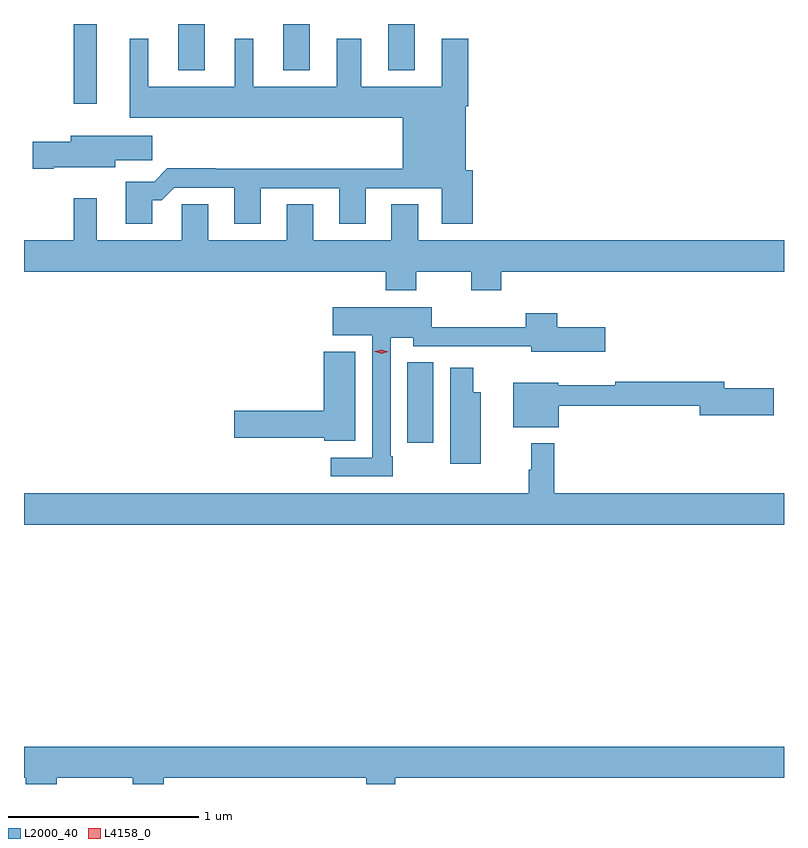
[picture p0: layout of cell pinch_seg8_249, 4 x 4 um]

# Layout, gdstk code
import gdstk
lib = gdstk.Library(unit=1e-6, precision=1e-09)
def R(c, l, rs):  # rectangles x0, y0, x1, y1
    for r in rs: c.add(gdstk.rectangle(r[:2], r[2:], *l))
def A(c, l, x, y, w, h, nx, ny, dx, dy):  # array of equal rectangles
    R(c, l, [(x+i*dx, y+j*dy, x+i*dx+w, y+j*dy+h) for i in range(nx) for j in range(ny)])
def P(c, l, *ps):  # polygons
    for p in ps: c.add(gdstk.Polygon(p, *l))
L2000_40 = (2000, 40)
L4158_0 = (4158, 0)

pinch_seg8_249 = lib.new_cell('pinch_seg8_249')
A(pinch_seg8_249, L2000_40, 827.045, 1089.587, 0.14, 0.244, 3, 1, 0.552, 0)
R(pinch_seg8_249, L2000_40, [(828.251,1087.626,828.388,1088.051), (826.494,1089.411,826.615,1089.831)])
P(pinch_seg8_249, L2000_40, [(826.909,1088.903),(826.958,1088.903),(827.025,1088.97),(827.339,1088.97),(827.339,1088.781),(827.479,1088.781),(827.479,1088.967),(827.891,1088.967),(827.891,1088.781),(828.031,1088.781),(828.031,1088.967),(828.431,1088.967),(828.431,1088.781),(828.596,1088.781),(828.596,1089.06),(828.559,1089.06),(828.559,1089.398),(828.572,1089.398),(828.572,1089.754),(828.431,1089.754),(828.431,1089.502),(828.007,1089.502),(828.007,1089.754),(827.879,1089.754),(827.879,1089.502),(827.44,1089.502),(827.44,1089.754),(827.342,1089.754),(827.342,1089.502),(826.888,1089.502),(826.888,1089.754),(826.79,1089.754),(826.79,1089.338),(828.227,1089.338),(828.227,1089.068),(827.243,1089.068),(827.243,1089.071),(826.988,1089.071),(826.918,1089.001),(826.769,1089.001),(826.769,1088.781),(826.909,1088.781)],
  [(826.39,1089.077),(826.714,1089.077),(826.714,1089.115),(826.909,1089.115),(826.909,1089.244),(826.478,1089.244),(826.478,1089.212),(826.278,1089.212),(826.278,1089.07),(826.39,1089.07)],
  [(828.297,1088.528),(828.586,1088.528),(828.586,1088.429),(828.746,1088.429),(828.746,1088.528),(830.233,1088.528),(830.233,1088.692),(828.307,1088.692),(828.307,1088.882),(828.167,1088.882),(828.167,1088.692),(827.755,1088.692),(827.755,1088.882),(827.615,1088.882),(827.615,1088.692),(827.203,1088.692),(827.203,1088.882),(827.064,1088.882),(827.064,1088.692),(826.615,1088.692),(826.615,1088.914),(826.494,1088.914),(826.494,1088.692),(826.233,1088.692),(826.233,1088.528),(828.137,1088.528),(828.137,1088.429),(828.297,1088.429)],
  [(828.175,1087.555),(828.162,1087.555),(828.162,1088.18),(828.282,1088.18),(828.282,1088.136),(828.694,1088.136),(828.694,1088.135),(828.902,1088.135),(828.902,1088.105),(829.291,1088.105),(829.291,1088.235),(829.04,1088.235),(829.04,1088.308),(828.875,1088.308),(828.875,1088.234),(828.378,1088.234),(828.378,1088.341),(827.859,1088.341),(827.859,1088.192),(828.066,1088.192),(828.066,1087.548),(827.847,1087.548),(827.847,1087.452),(828.175,1087.452)],
  [(827.977,1088.107),(827.81,1088.107),(827.81,1087.796),(827.34,1087.796),(827.34,1087.654),(827.814,1087.654),(827.814,1087.637),(827.977,1087.637)],
  [(828.637,1087.894),(828.598,1087.894),(828.598,1088.023),(828.476,1088.023),(828.476,1087.517),(828.637,1087.517)],
  [(829.048,1087.821),(829.79,1087.821),(829.79,1087.771),(830.179,1087.771),(830.179,1087.913),(829.918,1087.913),(829.918,1087.949),(829.344,1087.949),(829.344,1087.93),(829.044,1087.93),(829.044,1087.942),(828.809,1087.942),(828.809,1087.709),(829.048,1087.709)],
  [(830.233,1087.36),(829.025,1087.36),(829.025,1087.624),(828.904,1087.624),(828.904,1087.484),(828.889,1087.484),(828.889,1087.36),(826.233,1087.36),(826.233,1087.196),(830.233,1087.196)],
  [(826.405,1085.864),(826.805,1085.864),(826.805,1085.831),(826.969,1085.831),(826.969,1085.864),(828.035,1085.864),(828.035,1085.831),(828.187,1085.831),(828.187,1085.864),(830.233,1085.864),(830.233,1086.028),(826.233,1086.028),(826.233,1085.864),(826.241,1085.864),(826.241,1085.831),(826.405,1085.831)])
P(pinch_seg8_249, L4158_0, [(828.115,1088.096),(828.08,1088.107),(828.08,1088.108),(828.08,1088.108),(828.115,1088.116),(828.15,1088.106),(828.15,1088.106),(828.15,1088.105)])

lib.write_gds('pinch_seg8_249.gds')
